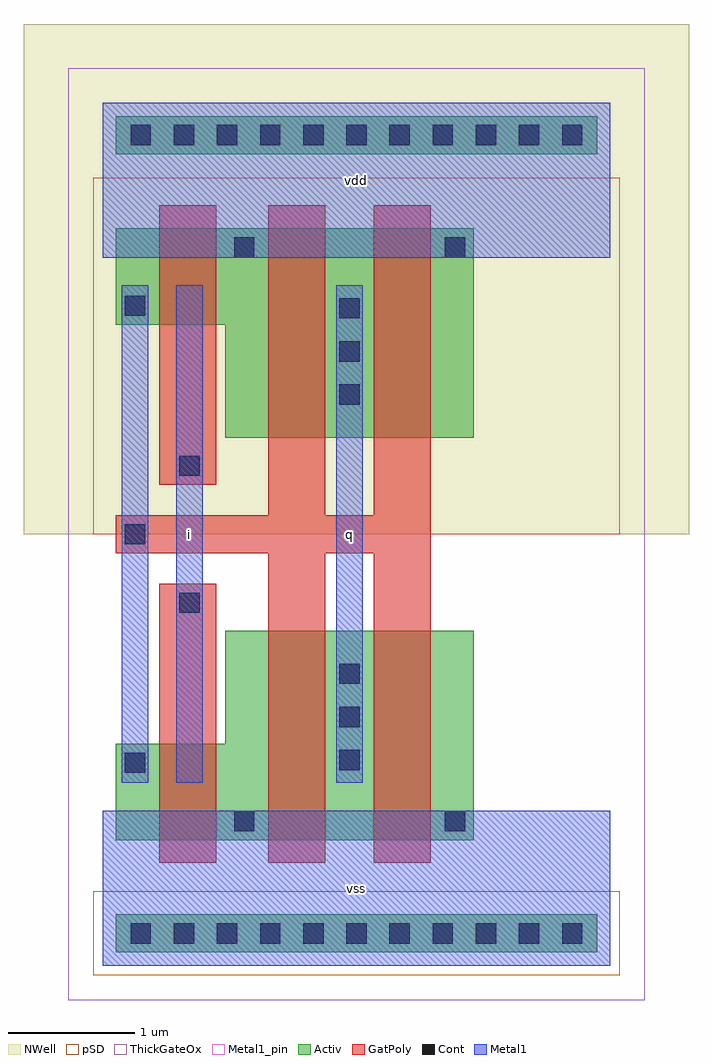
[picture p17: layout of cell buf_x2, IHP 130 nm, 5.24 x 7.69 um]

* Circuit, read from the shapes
.subckt buf_x2 i q vdd vss
XM1 vss i n1 vss sg13_hv_nmos w=0.76u l=0.45u
XM2 q n1 vss vss sg13_hv_nmos w=1.65u l=0.45u m=2
XM3 vdd i n1 vdd sg13_hv_pmos w=0.76u l=0.45u
XM4 q n1 vdd vdd sg13_hv_pmos w=1.65u l=0.45u m=2
.ends

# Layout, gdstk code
import gdstk
lib = gdstk.Library(unit=1e-6, precision=1e-09)
def R(c, l, rs):  # rectangles x0, y0, x1, y1
    for r in rs: c.add(gdstk.rectangle(r[:2], r[2:], *l))
def A(c, l, x, y, w, h, nx, ny, dx, dy):  # array of equal rectangles
    R(c, l, [(x+i*dx, y+j*dy, x+i*dx+w, y+j*dy+h) for i in range(nx) for j in range(ny)])
def P(c, l, *ps):  # polygons
    for p in ps: c.add(gdstk.Polygon(p, *l))
Activ = (1, 0)
GatPoly = (5, 0)
Cont = (6, 0)
Metal1 = (8, 0)
Metal1_pin = (8, 2)
pSD = (14, 0)
NWell = (31, 0)
ThickGateOx = (44, 0)

buf_x2 = lib.new_cell('buf_x2')
R(buf_x2, Activ, [(0.105,0.105,3.895,0.405), (0.105,6.395,3.895,6.695)])
P(buf_x2, Activ, [(0.105,0.99),(0.105,1.75),(0.965,1.75),(0.965,2.64),(2.925,2.64),(2.925,0.99)],
  [(0.965,4.16),(0.965,5.05),(0.105,5.05),(0.105,5.81),(2.925,5.81),(2.925,4.16)])
R(buf_x2, GatPoly, [(0.445,0.81,0.895,3.01), (0.445,3.79,0.895,5.99)])
P(buf_x2, GatPoly, [(1.305,0.81),(1.305,3.25),(0.105,3.25),(0.105,3.55),(1.305,3.55),(1.305,5.99),(1.755,5.99),(1.755,3.55),(2.135,3.55),(2.135,5.99),(2.585,5.99),(2.585,0.81),(2.135,0.81),(2.135,3.25),(1.755,3.25),(1.755,0.81)])
A(buf_x2, Cont, 0.22, 0.175, 0.16, 0.16, 11, 2, 0.34, 6.29)
A(buf_x2, Cont, 0.175, 1.52, 0.16, 0.16, 1, 3, 0, 1.8)
A(buf_x2, Cont, 1.865, 1.54, 0.16, 0.16, 1, 3, 0, 0.34)
A(buf_x2, Cont, 1.865, 4.42, 0.16, 0.16, 1, 3, 0, 0.34)
R(buf_x2, Cont, [(1.035,1.06,1.195,1.22), (2.695,1.06,2.855,1.22), (0.605,2.78,0.765,2.94), (0.605,3.86,0.765,4.02), (1.035,5.58,1.195,5.74), (2.695,5.58,2.855,5.74)])
R(buf_x2, Metal1, [(0,0,4,1.22), (0.15,1.44,0.36,5.36), (0.58,1.44,0.79,5.36), (1.84,1.44,2.05,5.36), (0,5.58,4,6.8)])
R(buf_x2, Metal1_pin, [(0,0,4,1.22), (0.58,1.44,0.79,5.36), (1.84,1.44,2.05,5.36), (0,5.58,4,6.8)])
R(buf_x2, pSD, [(-0.075,-0.075,4.075,0.585), (-0.075,3.4,4.075,6.21)])
R(buf_x2, NWell, [(-0.62,3.4,4.62,7.42)])
R(buf_x2, ThickGateOx, [(-0.27,-0.27,4.27,7.07)])
buf_x2.add(gdstk.Label('vdd', (2,6.19), layer=8, texttype=2))
buf_x2.add(gdstk.Label('vss', (2,0.61), layer=8, texttype=2))
buf_x2.add(gdstk.Label('i', (0.685,3.4), layer=8, texttype=2))
buf_x2.add(gdstk.Label('q', (1.945,3.4), layer=8, texttype=2))

lib.write_gds('buf_x2.gds')
